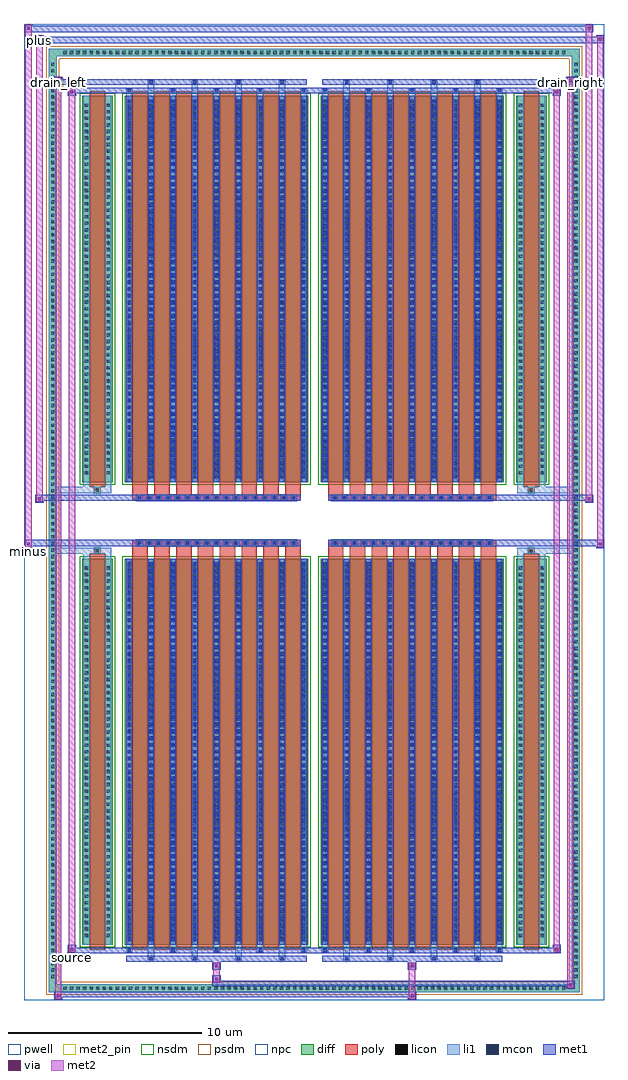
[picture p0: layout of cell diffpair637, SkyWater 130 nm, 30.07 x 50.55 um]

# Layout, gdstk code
import gdstk
lib = gdstk.Library(unit=1e-6, precision=5e-09)
def R(c, l, rs):  # rectangles x0, y0, x1, y1
    for r in rs: c.add(gdstk.rectangle(r[:2], r[2:], *l))
def A(c, l, x, y, w, h, nx, ny, dx, dy):  # array of equal rectangles
    R(c, l, [(x+i*dx, y+j*dy, x+i*dx+w, y+j*dy+h) for i in range(nx) for j in range(ny)])
def P(c, l, *ps):  # polygons
    for p in ps: c.add(gdstk.Polygon(p, *l))
pwell = (64, 44)
diff = (65, 20)
poly = (66, 20)
licon = (66, 44)
li1 = (67, 20)
mcon = (67, 44)
met1 = (68, 20)
via = (68, 44)
met2_pin = (69, 16)
met2 = (69, 20)
nsdm = (93, 44)
psdm = (94, 20)
npc = (95, 20)

diffpair637 = lib.new_cell('diffpair637')
R(diffpair637, pwell, [(-15.02,-24.84,15.02,25.71), (-12.34,-23.03,-0.01,-0.805), (0.01,-23.03,12.34,-0.805), (-12.34,0.805,-0.01,23.03), (0.01,0.805,12.34,23.03)])
A(diffpair637, diff, -13.125, -24.44, 0.41, 0.41, 77, 2, 0.34, 48.47)
A(diffpair637, diff, -13.75, -23.835, 0.41, 0.41, 1, 140, 0, 0.34)
A(diffpair637, diff, 13.34, -23.835, 0.41, 0.41, 1, 140, 0, 0.34)
R(diffpair637, diff, [(-13.125,-24.44,13.125,-24.03), (-13.75,-23.835,-13.34,23.835), (13.34,-23.835,13.75,23.835), (-12.03,-21.985,-10.45,-1.985), (-9.81,-21.985,-0.32,-1.985), (0.32,-21.985,9.81,-1.985), (10.45,-21.985,12.03,-1.985), (-12.03,1.985,-10.45,21.985), (-9.81,1.985,-0.32,21.985), (0.32,1.985,9.81,21.985), (10.45,1.985,12.03,21.985), (-13.125,24.03,13.125,24.44)])
P(diffpair637, diff, [(13.75,24.44),(-13.75,24.44),(-13.75,-24.03),(-13.34,-24.03),(-13.34,24.03),(13.34,24.03),(13.34,-24.03),(-13.34,-24.03),(-13.75,-24.03),(-13.75,-24.44),(13.75,-24.44)])
A(diffpair637, poly, -9.42, -22.235, 0.8, 20.5, 8, 2, 1.13, 23.97)
A(diffpair637, poly, 0.71, -22.235, 0.8, 20.5, 8, 2, 1.13, 23.97)
A(diffpair637, poly, -9.42, -1.735, 0.8, 0.4, 8, 2, 1.13, 3.07)
A(diffpair637, poly, 0.71, -1.735, 0.8, 0.4, 8, 2, 1.13, 3.07)
A(diffpair637, poly, -9.23, -1.335, 0.33, 0.33, 17, 2, 0.5, 2.34)
A(diffpair637, poly, 0.9, -1.335, 0.33, 0.33, 17, 2, 0.5, 2.34)
R(diffpair637, poly, [(-11.64,-22.235,-10.84,-1.735), (10.84,-22.235,11.64,-1.735), (-11.405,-1.735,-11.075,-1.405), (-11.405,-1.735,-11.075,-1.405), (11.075,-1.735,11.405,-1.405), (11.075,-1.735,11.405,-1.405), (-9.42,-1.335,-0.71,-1.005), (0.71,-1.335,9.42,-1.005), (-9.42,1.005,-0.71,1.335), (0.71,1.005,9.42,1.335), (-11.405,1.405,-11.075,1.735), (-11.405,1.405,-11.075,1.735), (11.075,1.405,11.405,1.735), (11.075,1.405,11.405,1.735), (-11.64,1.735,-10.84,22.235), (10.84,1.735,11.64,22.235)])
A(diffpair637, licon, -13.005, -24.32, 0.17, 0.17, 77, 2, 0.34, 48.47)
A(diffpair637, licon, -13.63, -23.715, 0.17, 0.17, 1, 140, 0, 0.34)
A(diffpair637, licon, 13.46, -23.715, 0.17, 0.17, 1, 140, 0, 0.34)
A(diffpair637, licon, -11.89, -21.59, 0.17, 0.17, 1, 57, 0, 0.34)
A(diffpair637, licon, -10.76, -21.59, 0.17, 0.17, 1, 57, 0, 0.34)
A(diffpair637, licon, -9.67, -21.59, 0.17, 0.17, 9, 57, 1.13, 0.34)
A(diffpair637, licon, 0.46, -21.59, 0.17, 0.17, 9, 57, 1.13, 0.34)
A(diffpair637, licon, 10.59, -21.59, 0.17, 0.17, 1, 57, 0, 0.34)
A(diffpair637, licon, 11.72, -21.59, 0.17, 0.17, 1, 57, 0, 0.34)
A(diffpair637, licon, -9.15, -1.255, 0.17, 0.17, 17, 2, 0.5, 2.34)
A(diffpair637, licon, 0.98, -1.255, 0.17, 0.17, 17, 2, 0.5, 2.34)
A(diffpair637, licon, -11.89, 2.38, 0.17, 0.17, 1, 57, 0, 0.34)
A(diffpair637, licon, -10.76, 2.38, 0.17, 0.17, 1, 57, 0, 0.34)
A(diffpair637, licon, -9.67, 2.38, 0.17, 0.17, 9, 57, 1.13, 0.34)
A(diffpair637, licon, 0.46, 2.38, 0.17, 0.17, 9, 57, 1.13, 0.34)
A(diffpair637, licon, 10.59, 2.38, 0.17, 0.17, 1, 57, 0, 0.34)
A(diffpair637, licon, 11.72, 2.38, 0.17, 0.17, 1, 57, 0, 0.34)
R(diffpair637, licon, [(-11.325,-1.655,-11.155,-1.485), (11.155,-1.655,11.325,-1.485), (-11.325,1.485,-11.155,1.655), (11.155,1.485,11.325,1.655)])
A(diffpair637, li1, -13.085, -24.4, 0.33, 0.33, 77, 2, 0.34, 48.47)
A(diffpair637, li1, -13.71, -23.795, 0.33, 0.33, 1, 140, 0, 0.34)
A(diffpair637, li1, 13.38, -23.795, 0.33, 0.33, 1, 140, 0, 0.34)
A(diffpair637, li1, -8.62, -22.79, 0.33, 0.805, 4, 2, 2.26, 44.775)
A(diffpair637, li1, -8.54, -22.79, 0.17, 0.17, 4, 2, 2.26, 45.41)
A(diffpair637, li1, 1.51, -22.79, 0.33, 0.805, 4, 2, 2.26, 44.775)
A(diffpair637, li1, 1.59, -22.79, 0.17, 0.17, 4, 2, 2.26, 45.41)
A(diffpair637, li1, -9.75, -22.36, 0.33, 0.375, 5, 2, 2.26, 44.345)
A(diffpair637, li1, -9.67, -22.36, 0.17, 0.17, 5, 2, 2.26, 44.55)
A(diffpair637, li1, 0.38, -22.36, 0.33, 0.375, 5, 2, 2.26, 44.345)
A(diffpair637, li1, 0.46, -22.36, 0.17, 0.17, 5, 2, 2.26, 44.55)
A(diffpair637, li1, -9.75, -21.985, 0.33, 20, 9, 2, 1.13, 23.97)
A(diffpair637, li1, 0.38, -21.985, 0.33, 20, 9, 2, 1.13, 23.97)
A(diffpair637, li1, -9.67, -21.79, 0.17, 0.17, 9, 55, 1.13, 0.36)
A(diffpair637, li1, -9.67, -21.79, 0.17, 19.61, 9, 2, 1.13, 23.97)
A(diffpair637, li1, 0.46, -21.79, 0.17, 0.17, 9, 55, 1.13, 0.36)
A(diffpair637, li1, 0.46, -21.79, 0.17, 19.61, 9, 2, 1.13, 23.97)
A(diffpair637, li1, -11.97, -21.67, 0.33, 0.33, 1, 57, 0, 0.34)
A(diffpair637, li1, -10.84, -21.67, 0.33, 0.33, 1, 57, 0, 0.34)
A(diffpair637, li1, -9.75, -21.67, 0.33, 0.33, 9, 57, 1.13, 0.34)
A(diffpair637, li1, 0.38, -21.67, 0.33, 0.33, 9, 57, 1.13, 0.34)
A(diffpair637, li1, 10.51, -21.67, 0.33, 0.33, 1, 57, 0, 0.34)
A(diffpair637, li1, 11.64, -21.67, 0.33, 0.33, 1, 57, 0, 0.34)
A(diffpair637, li1, -9.23, -1.335, 0.33, 0.33, 17, 2, 0.5, 2.34)
A(diffpair637, li1, 0.9, -1.335, 0.33, 0.33, 17, 2, 0.5, 2.34)
A(diffpair637, li1, -9.67, 2.18, 0.17, 0.17, 9, 55, 1.13, 0.36)
A(diffpair637, li1, 0.46, 2.18, 0.17, 0.17, 9, 55, 1.13, 0.36)
A(diffpair637, li1, -11.97, 2.3, 0.33, 0.33, 1, 57, 0, 0.34)
A(diffpair637, li1, -10.84, 2.3, 0.33, 0.33, 1, 57, 0, 0.34)
A(diffpair637, li1, -9.75, 2.3, 0.33, 0.33, 9, 57, 1.13, 0.34)
A(diffpair637, li1, 0.38, 2.3, 0.33, 0.33, 9, 57, 1.13, 0.34)
A(diffpair637, li1, 10.51, 2.3, 0.33, 0.33, 1, 57, 0, 0.34)
A(diffpair637, li1, 11.64, 2.3, 0.33, 0.33, 1, 57, 0, 0.34)
R(diffpair637, li1, [(-13.75,-24.44,-13.34,-24.03), (-13.75,-24.44,-13.34,-24.03), (-13.34,-24.44,13.34,-24.03), (13.34,-24.44,13.75,-24.03), (13.34,-24.44,13.75,-24.03), (-13.75,-24.03,-13.34,24.03), (13.34,-24.03,13.75,24.03), (-11.97,-21.985,-11.64,-1.985), (-10.84,-21.985,-10.51,-1.985), (10.51,-21.985,10.84,-1.985), (11.64,-21.985,11.97,-1.985), (-11.97,-1.985,-11.64,-1.405), (-10.84,-1.985,-10.51,-1.405), (10.51,-1.985,10.84,-1.405), (11.64,-1.985,11.97,-1.405), (-13.75,-1.735,-11.405,-1.405), (-11.97,-1.735,-11.405,-1.405), (-11.405,-1.735,-11.075,-1.405), (-11.075,-1.735,-10.51,-1.405), (10.51,-1.735,11.075,-1.405), (11.075,-1.735,11.405,-1.405), (11.075,-1.735,13.75,-1.405), (11.405,-1.735,11.97,-1.405), (-13.75,1.405,-11.405,1.735), (-11.97,1.405,-11.405,1.735), (-11.97,1.405,-11.64,1.985), (-11.405,1.405,-11.075,1.735), (-11.075,1.405,-10.51,1.735), (-10.84,1.405,-10.51,1.985), (10.51,1.405,11.075,1.735), (10.51,1.405,10.84,1.985), (11.075,1.405,11.405,1.735), (11.075,1.405,13.75,1.735), (11.405,1.405,11.97,1.735), (11.64,1.405,11.97,1.985), (-11.97,1.985,-11.64,21.985), (-10.84,1.985,-10.51,21.985), (10.51,1.985,10.84,21.985), (11.64,1.985,11.97,21.985), (-13.75,24.03,-13.34,24.44), (-13.75,24.03,-13.34,24.44), (-13.34,24.03,13.34,24.44), (13.34,24.03,13.75,24.44), (13.34,24.03,13.75,24.44)])
A(diffpair637, mcon, -8.54, -22.79, 0.17, 0.17, 4, 2, 2.26, 45.41)
A(diffpair637, mcon, 1.59, -22.79, 0.17, 0.17, 4, 2, 2.26, 45.41)
A(diffpair637, mcon, -9.67, -22.36, 0.17, 0.17, 5, 2, 2.26, 44.55)
A(diffpair637, mcon, 0.46, -22.36, 0.17, 0.17, 5, 2, 2.26, 44.55)
A(diffpair637, mcon, -9.67, -21.79, 0.17, 0.17, 9, 55, 1.13, 0.36)
A(diffpair637, mcon, 0.46, -21.79, 0.17, 0.17, 9, 55, 1.13, 0.36)
A(diffpair637, mcon, -9.15, -1.255, 0.17, 0.17, 17, 2, 0.5, 2.34)
A(diffpair637, mcon, 0.98, -1.255, 0.17, 0.17, 17, 2, 0.5, 2.34)
A(diffpair637, mcon, -9.67, 2.18, 0.17, 0.17, 9, 55, 1.13, 0.36)
A(diffpair637, mcon, 0.46, 2.18, 0.17, 0.17, 9, 55, 1.13, 0.36)
A(diffpair637, met1, -8.6, -22.85, 0.29, 0.29, 4, 2, 2.26, 45.41)
A(diffpair637, met1, 1.53, -22.85, 0.29, 0.29, 4, 2, 2.26, 45.41)
A(diffpair637, met1, -9.73, -22.42, 0.29, 0.29, 5, 2, 2.26, 44.55)
A(diffpair637, met1, 0.4, -22.42, 0.29, 0.29, 5, 2, 2.26, 44.55)
A(diffpair637, met1, -9.73, -21.985, 0.29, 20, 9, 2, 1.13, 23.97)
A(diffpair637, met1, 0.4, -21.985, 0.29, 20, 9, 2, 1.13, 23.97)
A(diffpair637, met1, -9.73, -21.85, 0.29, 0.29, 9, 55, 1.13, 0.36)
A(diffpair637, met1, 0.4, -21.85, 0.29, 0.29, 9, 55, 1.13, 0.36)
A(diffpair637, met1, -9.21, -1.315, 0.29, 0.29, 17, 2, 0.5, 2.34)
A(diffpair637, met1, 0.92, -1.315, 0.29, 0.29, 17, 2, 0.5, 2.34)
A(diffpair637, met1, -9.73, 2.12, 0.29, 0.29, 9, 55, 1.13, 0.36)
A(diffpair637, met1, 0.4, 2.12, 0.29, 0.29, 9, 55, 1.13, 0.36)
R(diffpair637, met1, [(-13.48,-24.84,-13.05,-24.41), (4.85,-24.84,5.28,-24.41), (-13.48,-24.7,5.28,-24.41), (13.05,-24.27,13.48,-23.84), (-5.28,-24.13,13.48,-23.84), (-5.28,-23.99,-4.85,-23.56), (-5.28,-23.28,-4.85,-22.85), (4.85,-23.28,5.28,-22.85), (-9.73,-22.85,-0.4,-22.56), (0.4,-22.85,9.73,-22.56), (-12.77,-22.42,-12.34,-21.99), (-12.77,-22.42,-9.73,-22.13), (-9.73,-22.42,-0.4,-22.13), (-0.4,-22.42,0.4,-22.13), (0.4,-22.42,9.73,-22.13), (9.73,-22.42,12.77,-22.13), (12.34,-22.42,12.77,-21.99), (-15.02,-1.435,-14.59,-1.005), (14.59,-1.435,15.02,-1.005), (-15.02,-1.335,-0.71,-1.005), (-9.42,-1.335,-0.71,-1.005), (0.71,-1.335,9.42,-1.005), (0.71,-1.335,15.02,-1.005), (-14.45,0.905,-14.02,1.335), (14.02,0.905,14.45,1.335), (-14.45,1.005,-9.42,1.335), (-9.42,1.005,-0.71,1.335), (0.71,1.005,9.42,1.335), (9.42,1.005,14.45,1.335), (-12.77,21.99,-12.34,22.42), (12.34,21.99,12.77,22.42), (-12.77,22.13,-9.73,22.42), (-9.73,22.13,-0.4,22.42), (-0.4,22.13,0.4,22.42), (0.4,22.13,9.73,22.42), (9.73,22.13,12.77,22.42), (-13.48,22.56,-13.05,22.99), (-13.48,22.56,-9.73,22.85), (-9.73,22.56,-0.4,22.85), (0.4,22.56,9.73,22.85), (9.73,22.56,13.48,22.85), (13.05,22.56,13.48,22.99), (-14.45,24.71,-14.02,25.14), (-14.45,24.71,-12.34,25.04), (-12.34,24.71,12.34,25.04), (12.34,24.71,15.02,25.04), (14.59,24.71,15.02,25.14), (-15.02,25.28,-14.59,25.71), (-15.02,25.28,-12.34,25.61), (-12.34,25.28,12.34,25.61), (12.34,25.28,14.45,25.61), (14.02,25.28,14.45,25.71)])
R(diffpair637, via, [(-13.34,-24.7,-13.19,-24.55), (4.99,-24.7,5.14,-24.55), (13.19,-24.13,13.34,-23.98), (-5.14,-23.85,-4.99,-23.7), (-5.14,-23.14,-4.99,-22.99), (4.99,-23.14,5.14,-22.99), (-12.63,-22.28,-12.48,-22.13), (12.48,-22.28,12.63,-22.13), (-14.88,-1.295,-14.73,-1.145), (14.73,-1.295,14.88,-1.145), (-14.31,1.045,-14.16,1.195), (14.16,1.045,14.31,1.195), (-12.63,22.13,-12.48,22.28), (12.48,22.13,12.63,22.28), (-13.34,22.7,-13.19,22.85), (13.19,22.7,13.34,22.85), (-14.31,24.85,-14.16,25), (14.73,24.85,14.88,25), (-14.88,25.42,-14.73,25.57), (14.16,25.42,14.31,25.57)])
R(diffpair637, met2_pin, [(-12.805,-22.87,-12.305,-22.37), (-15.055,-1.885,-14.555,-1.385), (-13.515,22.44,-13.015,22.94), (13.015,22.44,13.515,22.94), (-14.485,24.59,-13.985,25.09)])
R(diffpair637, met2, [(-13.43,-24.79,-13.1,-24.46), (-13.43,-24.79,-13.1,22.94), (4.9,-24.79,5.23,-24.46), (4.9,-24.46,5.23,-23.23), (13.1,-24.22,13.43,-23.89), (13.1,-24.22,13.43,22.94), (-5.23,-23.94,-4.9,-23.61), (-5.23,-23.61,-4.9,-23.23), (-5.23,-23.23,-4.9,-22.9), (4.9,-23.23,5.23,-22.9), (-12.72,-22.37,-12.39,-22.04), (-12.72,-22.37,-12.39,22.37), (12.39,-22.37,12.72,-22.04), (12.39,-22.37,12.72,22.37), (-14.97,-1.385,-14.64,-1.055), (-14.97,-1.385,-14.64,25.66), (14.64,-1.385,14.97,-1.055), (14.64,-1.385,14.97,25.09), (-14.4,0.955,-14.07,1.285), (-14.4,0.955,-14.07,25.09), (14.07,0.955,14.4,1.285), (14.07,0.955,14.4,25.66), (-12.72,22.04,-12.39,22.37), (12.39,22.04,12.72,22.37), (-13.43,22.61,-13.1,22.94), (13.1,22.61,13.43,22.94), (-14.4,24.76,-14.07,25.09), (14.64,24.76,14.97,25.09), (-14.97,25.33,-14.64,25.66), (14.07,25.33,14.4,25.66)])
P(diffpair637, met2, [(14.97,-1.385),(14.97,-1.385),(14.97,-1.055),(14.97,-1.055)],
  [(14.97,24.76),(14.97,24.76),(14.97,25.09),(14.97,25.09)],
  [(-14.64,-1.385),(-14.64,-1.385),(-14.64,-1.055),(-14.64,-1.055)],
  [(-14.64,25.33),(-14.64,25.33),(-14.64,25.66),(-14.64,25.66)],
  [(14.4,0.955),(14.4,0.955),(14.4,1.285),(14.4,1.285)],
  [(14.4,25.33),(14.4,25.33),(14.4,25.66),(14.4,25.66)],
  [(-14.07,0.955),(-14.07,0.955),(-14.07,1.285),(-14.07,1.285)],
  [(-14.07,24.76),(-14.07,24.76),(-14.07,25.09),(-14.07,25.09)],
  [(-13.1,-24.79),(-13.1,-24.79),(-13.1,-24.46),(-13.1,-24.46)],
  [(-13.1,22.61),(-13.1,22.61),(-13.1,22.94),(-13.1,22.94)],
  [(13.43,-24.22),(13.43,-24.22),(13.43,-23.89),(13.43,-23.89)],
  [(13.43,22.61),(13.43,22.61),(13.43,22.94),(13.43,22.94)],
  [(-12.39,-22.37),(-12.39,-22.37),(-12.39,-22.04),(-12.39,-22.04)],
  [(-12.39,22.04),(-12.39,22.04),(-12.39,22.37),(-12.39,22.37)],
  [(12.72,-22.37),(12.72,-22.37),(12.72,-22.04),(12.72,-22.04)],
  [(12.72,22.04),(12.72,22.04),(12.72,22.37),(12.72,22.37)])
R(diffpair637, nsdm, [(-12.16,-22.115,-10.32,-1.855), (-9.94,-22.115,-0.19,-1.855), (0.19,-22.115,9.94,-1.855), (10.32,-22.115,12.16,-1.855), (-12.16,1.855,-10.32,22.115), (-9.94,1.855,-0.19,22.115), (0.19,1.855,9.94,22.115), (10.32,1.855,12.16,22.115)])
P(diffpair637, psdm, [(13.88,24.57),(-13.88,24.57),(-13.88,-23.9),(-13.21,-23.9),(-13.21,23.9),(13.21,23.9),(13.21,-23.9),(-13.21,-23.9),(-13.88,-23.9),(-13.88,-24.57),(13.88,-24.57)])
A(diffpair637, npc, -9.25, -1.355, 0.37, 0.37, 17, 2, 0.5, 2.34)
A(diffpair637, npc, 0.88, -1.355, 0.37, 0.37, 17, 2, 0.5, 2.34)
R(diffpair637, npc, [(-11.425,-1.755,-11.055,-1.385), (11.055,-1.755,11.425,-1.385), (-9.25,-1.355,-8.38,-0.985), (-9.25,-1.355,-8.38,-0.985), (-8.75,-1.355,-7.88,-0.985), (-8.75,-1.355,-7.88,-0.985), (-8.25,-1.355,-7.38,-0.985), (-8.25,-1.355,-7.38,-0.985), (-7.75,-1.355,-6.88,-0.985), (-7.75,-1.355,-6.88,-0.985), (-7.25,-1.355,-6.38,-0.985), (-7.25,-1.355,-6.38,-0.985), (-6.75,-1.355,-5.88,-0.985), (-6.75,-1.355,-5.88,-0.985), (-6.25,-1.355,-5.38,-0.985), (-6.25,-1.355,-5.38,-0.985), (-5.75,-1.355,-4.88,-0.985), (-5.75,-1.355,-4.88,-0.985), (-5.25,-1.355,-4.38,-0.985), (-5.25,-1.355,-4.38,-0.985), (-4.75,-1.355,-3.88,-0.985), (-4.75,-1.355,-3.88,-0.985), (-4.25,-1.355,-3.38,-0.985), (-4.25,-1.355,-3.38,-0.985), (-3.75,-1.355,-2.88,-0.985), (-3.75,-1.355,-2.88,-0.985), (-3.25,-1.355,-2.38,-0.985), (-3.25,-1.355,-2.38,-0.985), (-2.75,-1.355,-1.88,-0.985), (-2.75,-1.355,-1.88,-0.985), (-2.25,-1.355,-1.38,-0.985), (-2.25,-1.355,-1.38,-0.985), (-1.75,-1.355,-0.88,-0.985), (-1.75,-1.355,-0.88,-0.985), (0.88,-1.355,1.75,-0.985), (0.88,-1.355,1.75,-0.985), (1.38,-1.355,2.25,-0.985), (1.38,-1.355,2.25,-0.985), (1.88,-1.355,2.75,-0.985), (1.88,-1.355,2.75,-0.985), (2.38,-1.355,3.25,-0.985), (2.38,-1.355,3.25,-0.985), (2.88,-1.355,3.75,-0.985), (2.88,-1.355,3.75,-0.985), (3.38,-1.355,4.25,-0.985), (3.38,-1.355,4.25,-0.985), (3.88,-1.355,4.75,-0.985), (3.88,-1.355,4.75,-0.985), (4.38,-1.355,5.25,-0.985), (4.38,-1.355,5.25,-0.985), (4.88,-1.355,5.75,-0.985), (4.88,-1.355,5.75,-0.985), (5.38,-1.355,6.25,-0.985), (5.38,-1.355,6.25,-0.985), (5.88,-1.355,6.75,-0.985), (5.88,-1.355,6.75,-0.985), (6.38,-1.355,7.25,-0.985), (6.38,-1.355,7.25,-0.985), (6.88,-1.355,7.75,-0.985), (6.88,-1.355,7.75,-0.985), (7.38,-1.355,8.25,-0.985), (7.38,-1.355,8.25,-0.985), (7.88,-1.355,8.75,-0.985), (7.88,-1.355,8.75,-0.985), (8.38,-1.355,9.25,-0.985), (8.38,-1.355,9.25,-0.985), (-9.25,0.985,-8.38,1.355), (-9.25,0.985,-8.38,1.355), (-8.75,0.985,-7.88,1.355), (-8.75,0.985,-7.88,1.355), (-8.25,0.985,-7.38,1.355), (-8.25,0.985,-7.38,1.355), (-7.75,0.985,-6.88,1.355), (-7.75,0.985,-6.88,1.355), (-7.25,0.985,-6.38,1.355), (-7.25,0.985,-6.38,1.355), (-6.75,0.985,-5.88,1.355), (-6.75,0.985,-5.88,1.355), (-6.25,0.985,-5.38,1.355), (-6.25,0.985,-5.38,1.355), (-5.75,0.985,-4.88,1.355), (-5.75,0.985,-4.88,1.355), (-5.25,0.985,-4.38,1.355), (-5.25,0.985,-4.38,1.355), (-4.75,0.985,-3.88,1.355), (-4.75,0.985,-3.88,1.355), (-4.25,0.985,-3.38,1.355), (-4.25,0.985,-3.38,1.355), (-3.75,0.985,-2.88,1.355), (-3.75,0.985,-2.88,1.355), (-3.25,0.985,-2.38,1.355), (-3.25,0.985,-2.38,1.355), (-2.75,0.985,-1.88,1.355), (-2.75,0.985,-1.88,1.355), (-2.25,0.985,-1.38,1.355), (-2.25,0.985,-1.38,1.355), (-1.75,0.985,-0.88,1.355), (-1.75,0.985,-0.88,1.355), (0.88,0.985,1.75,1.355), (0.88,0.985,1.75,1.355), (1.38,0.985,2.25,1.355), (1.38,0.985,2.25,1.355), (1.88,0.985,2.75,1.355), (1.88,0.985,2.75,1.355), (2.38,0.985,3.25,1.355), (2.38,0.985,3.25,1.355), (2.88,0.985,3.75,1.355), (2.88,0.985,3.75,1.355), (3.38,0.985,4.25,1.355), (3.38,0.985,4.25,1.355), (3.88,0.985,4.75,1.355), (3.88,0.985,4.75,1.355), (4.38,0.985,5.25,1.355), (4.38,0.985,5.25,1.355), (4.88,0.985,5.75,1.355), (4.88,0.985,5.75,1.355), (5.38,0.985,6.25,1.355), (5.38,0.985,6.25,1.355), (5.88,0.985,6.75,1.355), (5.88,0.985,6.75,1.355), (6.38,0.985,7.25,1.355), (6.38,0.985,7.25,1.355), (6.88,0.985,7.75,1.355), (6.88,0.985,7.75,1.355), (7.38,0.985,8.25,1.355), (7.38,0.985,8.25,1.355), (7.88,0.985,8.75,1.355), (7.88,0.985,8.75,1.355), (8.38,0.985,9.25,1.355), (8.38,0.985,9.25,1.355), (-11.425,1.385,-11.055,1.755), (11.055,1.385,11.425,1.755)])
diffpair637.add(gdstk.Label('minus', (-14.805,-1.635), layer=69, texttype=5))
diffpair637.add(gdstk.Label('drain_right', (13.265,22.69), layer=69, texttype=5))
diffpair637.add(gdstk.Label('drain_left', (-13.265,22.69), layer=69, texttype=5))
diffpair637.add(gdstk.Label('source', (-12.555,-22.62), layer=69, texttype=5))
diffpair637.add(gdstk.Label('plus', (-14.235,24.84), layer=69, texttype=5))

lib.write_gds('diffpair637.gds')
